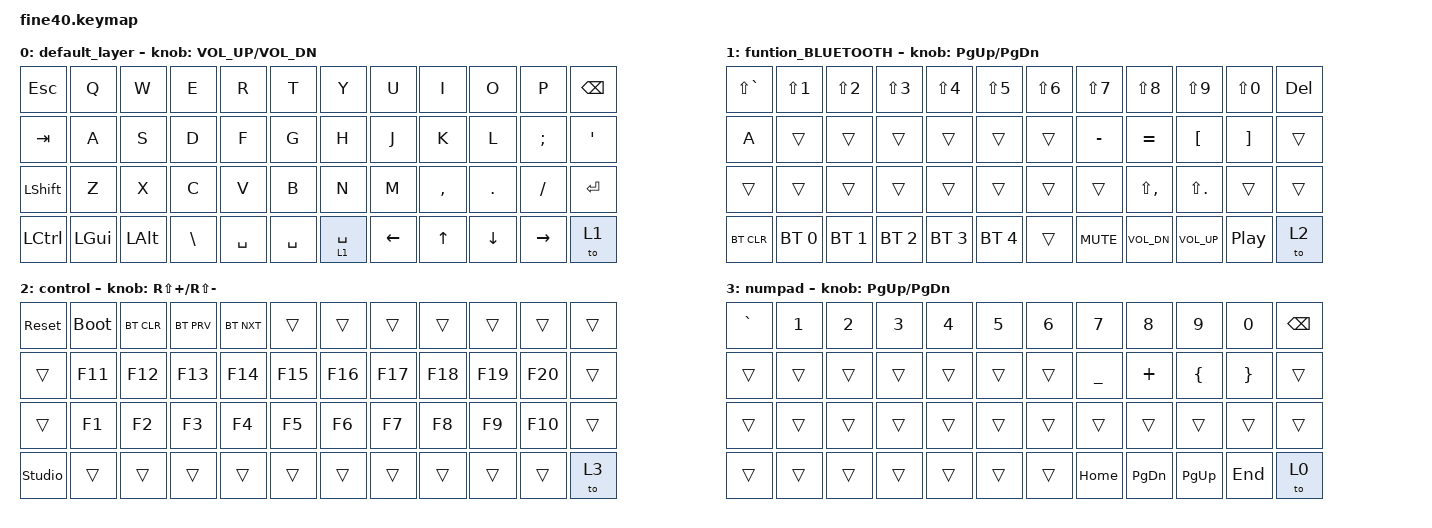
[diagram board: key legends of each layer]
/*
 * Aidan Smith (2021)
 *
 * SPDX-License-Identifier: MIT
 */

#include <behaviors.dtsi>
#include <dt-bindings/zmk/bt.h>
#include <dt-bindings/zmk/keys.h>

/ {
    keymap {
        compatible = "zmk,keymap";

        default_layer {
            bindings = <
&kp ESC    &kp Q     &kp W     &kp E     &kp R      &kp T      &kp Y        &kp U     &kp I      &kp O     &kp P      &kp BSPC
&kp TAB    &kp A     &kp S     &kp D     &kp F      &kp G      &kp H        &kp J     &kp K      &kp L     &kp SEMI   &kp SQT
&kp LSHFT  &kp Z     &kp X     &kp C     &kp V      &kp B      &kp N        &kp M     &kp COMMA  &kp DOT   &kp FSLH   &kp RET
&kp LCTRL  &kp LGUI  &kp LALT  &kp BSLH  &kp SPACE  &kp SPACE  &lt 1 SPACE  &kp LEFT  &kp UP     &kp DOWN  &kp RIGHT  &to 1
            >;

            sensor-bindings = <&inc_dec_kp C_VOL_UP C_VOL_DN>;
        };

        funtion_BLUETOOTH {
            bindings = <
&kp LS(GRAVE)  &kp LS(N1)    &kp LS(N2)    &kp LS(N3)    &kp LS(N4)    &kp LS(N5)    &kp LS(N6)  &kp LS(N7)  &kp LS(N8)     &kp LS(N9)    &kp LS(N0)  &kp DEL
&kp A          &trans        &trans        &trans        &trans        &trans        &trans      &kp MINUS   &kp EQUAL      &kp LBKT      &kp RBKT    &trans
&trans         &trans        &trans        &trans        &trans        &trans        &trans      &trans      &kp LS(COMMA)  &kp LS(DOT)   &trans      &trans
&bt BT_CLR     &bt BT_SEL 0  &bt BT_SEL 1  &bt BT_SEL 2  &bt BT_SEL 3  &bt BT_SEL 4  &trans      &kp C_MUTE  &kp C_VOL_DN   &kp C_VOL_UP  &kp C_PP    &to 2
            >;

            sensor-bindings = <&inc_dec_kp PG_UP PG_DN>;
        };

        control {
            bindings = <
&sys_reset      &bootloader  &bt BT_CLR  &bt BT_PRV  &bt BT_NXT  &trans   &trans   &trans   &trans   &trans   &trans   &trans
&trans          &kp F11      &kp F12     &kp F13     &kp F14     &kp F15  &kp F16  &kp F17  &kp F18  &kp F19  &kp F20  &trans
&trans          &kp F1       &kp F2      &kp F3      &kp F4      &kp F5   &kp F6   &kp F7   &kp F8   &kp F9   &kp F10  &trans
&studio_unlock  &trans       &trans      &trans      &trans      &trans   &trans   &trans   &trans   &trans   &trans   &to 3
            >;

            sensor-bindings = <&inc_dec_kp RS(PLUS) RS(MINUS)>;
        };

        numpad {
            bindings = <
&kp GRAVE  &kp N1  &kp N2  &kp N3  &kp N4  &kp N5  &kp N6  &kp N7     &kp N8     &kp N9     &kp N0    &kp BSPC
&trans     &trans  &trans  &trans  &trans  &trans  &trans  &kp UNDER  &kp PLUS   &kp LBRC   &kp RBRC  &trans
&trans     &trans  &trans  &trans  &trans  &trans  &trans  &trans     &trans     &trans     &trans    &trans
&trans     &trans  &trans  &trans  &trans  &trans  &trans  &kp HOME   &kp PG_DN  &kp PG_UP  &kp END   &to 0
            >;

            sensor-bindings = <&inc_dec_kp PG_UP PG_DN>;
        };
    };
};
